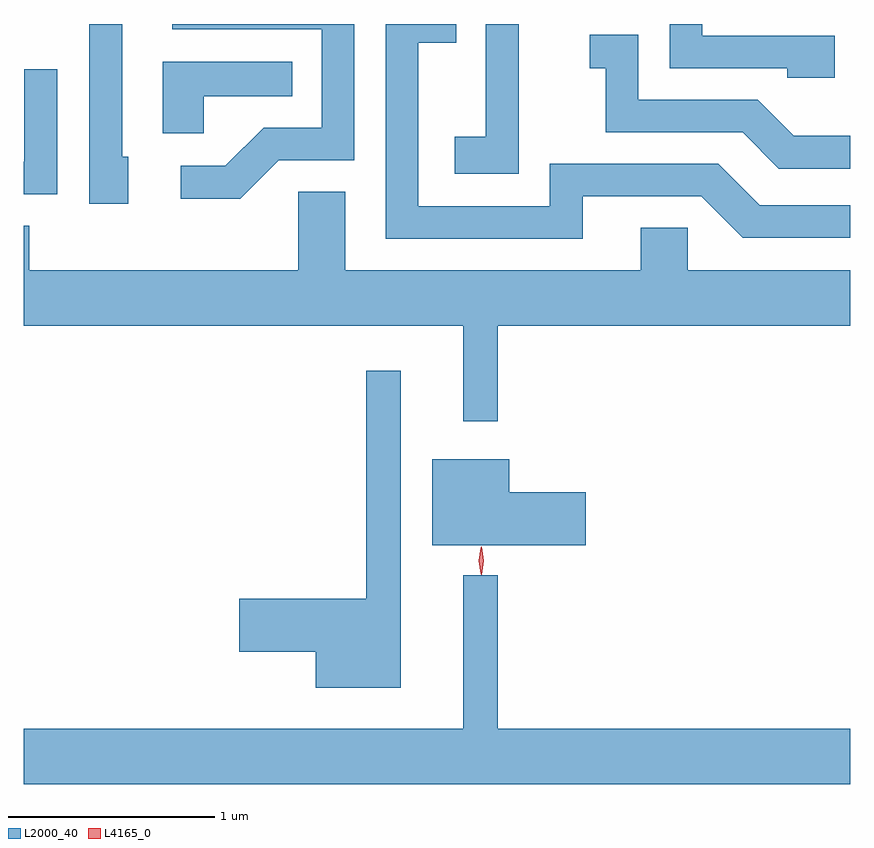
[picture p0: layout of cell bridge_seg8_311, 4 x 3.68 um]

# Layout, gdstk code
import gdstk
lib = gdstk.Library(unit=1e-6, precision=1e-09)
def P(c, l, *ps):  # polygons
    for p in ps: c.add(gdstk.Polygon(p, *l))
L2000_40 = (2000, 40)
L4165_0 = (4165, 0)

bridge_seg8_311 = lib.new_cell('bridge_seg8_311')
P(bridge_seg8_311, L2000_40, [(984.029,1891.156),(983.871,1891.156),(983.871,1890.609),(983.721,1890.609),(983.721,1890.431),(984.029,1890.431)],
  [(985.559,1891.099),(984.919,1891.099),(984.919,1891.156),(984.761,1891.156),(984.761,1890.941),(985.331,1890.941),(985.331,1890.896),(985.559,1890.896)],
  [(982.867,1890.496),(983.234,1890.496),(983.234,1891.156),(982.353,1891.156),(982.353,1891.131),(983.076,1891.131),(983.076,1890.654),(982.794,1890.654),(982.609,1890.469),(982.393,1890.469),(982.393,1890.311),(982.682,1890.311)],
  [(982.139,1890.514),(982.109,1890.514),(982.109,1891.156),(981.951,1891.156),(981.951,1890.286),(982.139,1890.286)],
  [(984.339,1890.321),(984.914,1890.321),(985.114,1890.121),(985.634,1890.121),(985.634,1890.279),(985.197,1890.279),(984.997,1890.479),(984.181,1890.479),(984.181,1890.274),(983.544,1890.274),(983.544,1891.066),(983.728,1891.066),(983.728,1891.156),(983.386,1891.156),(983.386,1890.116),(984.339,1890.116)],
  [(985.634,1890.614),(985.362,1890.614),(985.187,1890.789),(984.609,1890.789),(984.609,1891.104),(984.373,1891.104),(984.373,1890.941),(984.451,1890.941),(984.451,1890.631),(985.114,1890.631),(985.289,1890.456),(985.634,1890.456)],
  [(982.504,1890.806),(982.933,1890.806),(982.933,1890.974),(982.306,1890.974),(982.306,1890.626),(982.504,1890.626)],
  [(981.794,1890.938),(981.636,1890.938),(981.636,1890.489),(981.634,1890.489),(981.634,1890.331),(981.794,1890.331)],
  [(983.929,1889.696),(985.634,1889.696),(985.634,1889.964),(984.849,1889.964),(984.849,1890.169),(984.621,1890.169),(984.621,1889.964),(983.189,1889.964),(983.189,1890.344),(982.961,1890.344),(982.961,1889.964),(981.659,1889.964),(981.659,1890.179),(981.634,1890.179),(981.634,1889.696),(983.761,1889.696),(983.761,1889.233),(983.929,1889.233)],
  [(983.459,1889.478),(983.291,1889.478),(983.291,1888.374),(982.676,1888.374),(982.676,1888.116),(983.046,1888.116),(983.046,1887.941),(983.459,1887.941)],
  [(984.354,1888.889),(983.984,1888.889),(983.984,1889.049),(983.611,1889.049),(983.611,1888.631),(984.354,1888.631)],
  [(985.634,1887.744),(983.929,1887.744),(983.929,1888.488),(983.761,1888.488),(983.761,1887.744),(981.634,1887.744),(981.634,1887.476),(985.634,1887.476)])
P(bridge_seg8_311, L4165_0, [(983.849,1888.49),(983.84,1888.558),(983.849,1888.626),(983.85,1888.626),(983.85,1888.626),(983.86,1888.558),(983.85,1888.49),(983.85,1888.49)],
  [(983.847,1888.493),(983.847,1888.493),(983.837,1888.556),(983.847,1888.619),(983.847,1888.62),(983.848,1888.619),(983.858,1888.556),(983.848,1888.493)])

lib.write_gds('bridge_seg8_311.gds')
